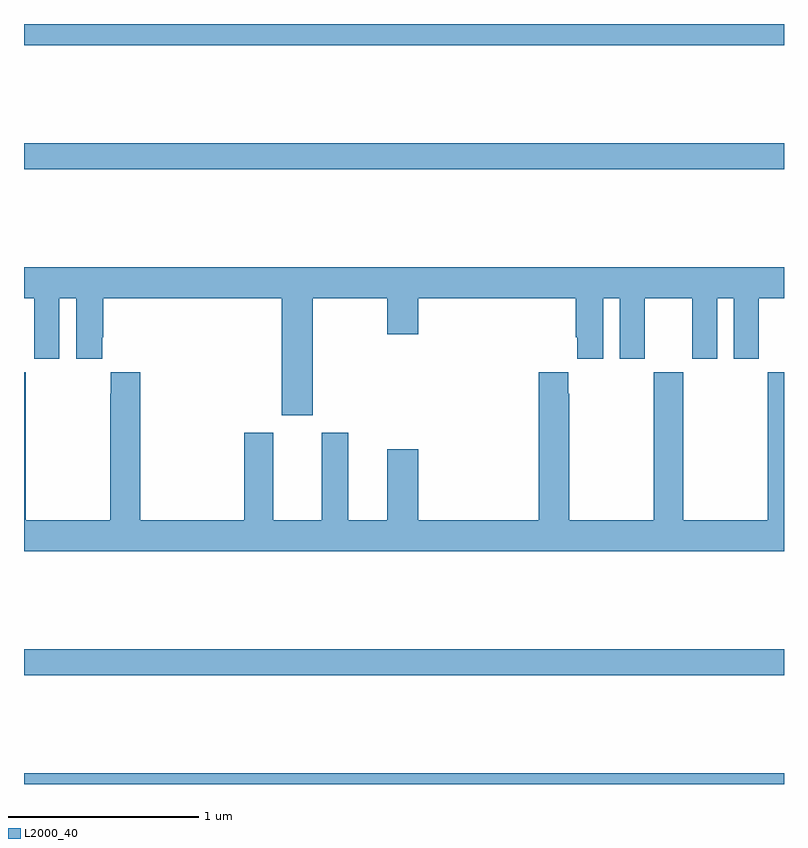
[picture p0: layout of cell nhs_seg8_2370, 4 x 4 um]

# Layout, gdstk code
import gdstk
lib = gdstk.Library(unit=1e-6, precision=1e-09)
def R(c, l, rs):  # rectangles x0, y0, x1, y1
    for r in rs: c.add(gdstk.rectangle(r[:2], r[2:], *l))
def P(c, l, *ps):  # polygons
    for p in ps: c.add(gdstk.Polygon(p, *l))
L2000_40 = (2000, 40)

nhs_seg8_2370 = lib.new_cell('nhs_seg8_2370')
R(nhs_seg8_2370, L2000_40, [(259,1157.9,263,1157.956), (259,1158.472,263,1158.608), (259,1161.136,263,1161.272), (259,1161.788,263,1161.9)])
P(nhs_seg8_2370, L2000_40, [(260.521,1160.456),(260.912,1160.456),(260.912,1160.268),(261.076,1160.268),(261.076,1160.456),(261.904,1160.456),(261.904,1160.251),(261.911,1160.251),(261.911,1160.139),(262.048,1160.139),(262.048,1160.456),(262.136,1160.456),(262.136,1160.139),(262.267,1160.139),(262.267,1160.456),(262.517,1160.456),(262.517,1160.139),(262.648,1160.139),(262.648,1160.456),(262.736,1160.456),(262.736,1160.139),(262.867,1160.139),(262.867,1160.456),(263,1160.456),(263,1160.62),(259,1160.62),(259,1160.456),(259.055,1160.456),(259.055,1160.139),(259.186,1160.139),(259.186,1160.456),(259.274,1160.456),(259.274,1160.139),(259.411,1160.139),(259.411,1160.251),(259.418,1160.251),(259.418,1160.456),(260.357,1160.456),(260.357,1159.842),(260.521,1159.842)],
  [(260.159,1159.75),(260.159,1159.288),(259.613,1159.288),(259.613,1160.068),(259.457,1160.068),(259.457,1159.955),(259.453,1159.955),(259.453,1159.288),(259.008,1159.288),(259.008,1160.068),(259,1160.068),(259,1159.124),(263,1159.124),(263,1160.068),(262.915,1160.068),(262.915,1159.288),(262.47,1159.288),(262.47,1160.068),(262.315,1160.068),(262.315,1159.288),(261.87,1159.288),(261.87,1159.955),(261.865,1159.955),(261.865,1160.068),(261.71,1160.068),(261.71,1159.288),(261.076,1159.288),(261.076,1159.663),(260.912,1159.663),(260.912,1159.288),(260.707,1159.288),(260.707,1159.75),(260.567,1159.75),(260.567,1159.288),(260.311,1159.288),(260.311,1159.75)])

lib.write_gds('nhs_seg8_2370.gds')
